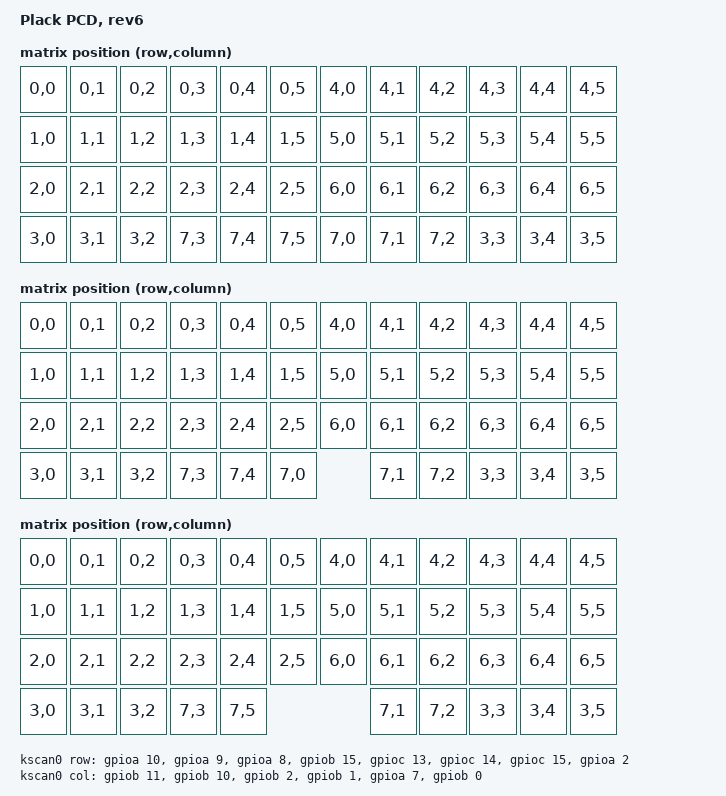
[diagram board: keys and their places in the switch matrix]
/*
 * Copyright (c) 2017 I-SENSE group of ICCS
 *
 * SPDX-License-Identifier: MIT
 */

/dts-v1/;
#include <st/f3/stm32f303Xc.dtsi>
#include <dt-bindings/zmk/matrix_transform.h>

/ {
	model = "Plack PCD, rev6";
	compatible = "planck,rev6", "st,stm32f303";

	chosen {
		zephyr,sram = &sram0;
		zephyr,flash = &flash0;
		zmk,kscan = &kscan0;
                zmk,matrix_transform = &layout_grid_transform;
	};

	kscan0: kscan {
		compatible = "zmk,kscan-gpio-matrix";
		label = "KSCAN";
                diode-direction = "col2row";
		row-gpios
			= <&gpioa 10 (GPIO_ACTIVE_HIGH | GPIO_PULL_DOWN)>
			, <&gpioa 9  (GPIO_ACTIVE_HIGH | GPIO_PULL_DOWN)>
			, <&gpioa 8  (GPIO_ACTIVE_HIGH | GPIO_PULL_DOWN)>
			, <&gpiob 15 (GPIO_ACTIVE_HIGH | GPIO_PULL_DOWN)>
			, <&gpioc 13 (GPIO_ACTIVE_HIGH | GPIO_PULL_DOWN)>
			, <&gpioc 14 (GPIO_ACTIVE_HIGH | GPIO_PULL_DOWN)>
			, <&gpioc 15 (GPIO_ACTIVE_HIGH | GPIO_PULL_DOWN)>
			, <&gpioa 2  (GPIO_ACTIVE_HIGH | GPIO_PULL_DOWN)>
			;
		col-gpios
			= <&gpiob 11 GPIO_ACTIVE_HIGH>
			, <&gpiob 10 GPIO_ACTIVE_HIGH>
			, <&gpiob 2  GPIO_ACTIVE_HIGH>
			, <&gpiob 1  GPIO_ACTIVE_HIGH>
			, <&gpioa 7  GPIO_ACTIVE_HIGH>
			, <&gpiob 0  GPIO_ACTIVE_HIGH>
			;
	};

layout_grid_transform:
	keymap_transform_0 {
	    compatible = "zmk,matrix-transform";
	    columns = <6>;
	    rows = <8>;
	    map = <
		RC(0,0) RC(0,1) RC(0,2) RC(0,3) RC(0,4) RC(0,5) RC(4,0) RC(4,1) RC(4,2) RC(4,3) RC(4,4) RC(4,5)
		RC(1,0) RC(1,1) RC(1,2) RC(1,3) RC(1,4) RC(1,5) RC(5,0) RC(5,1) RC(5,2) RC(5,3) RC(5,4) RC(5,5)
		RC(2,0) RC(2,1) RC(2,2) RC(2,3) RC(2,4) RC(2,5) RC(6,0) RC(6,1) RC(6,2) RC(6,3) RC(6,4) RC(6,5)
		RC(3,0) RC(3,1) RC(3,2) RC(7,3) RC(7,4) RC(7,5) RC(7,0) RC(7,1) RC(7,2) RC(3,3) RC(3,4) RC(3,5)
		>;
	};
layout_mit_transform:
	keymap_transform_1 {
	    compatible = "zmk,matrix-transform";
	    columns = <6>;
	    rows = <8>;
	    map = <
		RC(0,0) RC(0,1) RC(0,2) RC(0,3) RC(0,4) RC(0,5) RC(4,0) RC(4,1) RC(4,2) RC(4,3) RC(4,4) RC(4,5)
		RC(1,0) RC(1,1) RC(1,2) RC(1,3) RC(1,4) RC(1,5) RC(5,0) RC(5,1) RC(5,2) RC(5,3) RC(5,4) RC(5,5)
		RC(2,0) RC(2,1) RC(2,2) RC(2,3) RC(2,4) RC(2,5) RC(6,0) RC(6,1) RC(6,2) RC(6,3) RC(6,4) RC(6,5)
		RC(3,0) RC(3,1) RC(3,2) RC(7,3) RC(7,4)     RC(7,0)     RC(7,1) RC(7,2) RC(3,3) RC(3,4) RC(3,5)
		>;
	};
layout_2x2u_transform:
	keymap_transform_2 {
	    compatible = "zmk,matrix-transform";
	    columns = <6>;
	    rows = <8>;
	    map = <
		RC(0,0) RC(0,1) RC(0,2) RC(0,3) RC(0,4) RC(0,5) RC(4,0) RC(4,1) RC(4,2) RC(4,3) RC(4,4) RC(4,5)
		RC(1,0) RC(1,1) RC(1,2) RC(1,3) RC(1,4) RC(1,5) RC(5,0) RC(5,1) RC(5,2) RC(5,3) RC(5,4) RC(5,5)
		RC(2,0) RC(2,1) RC(2,2) RC(2,3) RC(2,4) RC(2,5) RC(6,0) RC(6,1) RC(6,2) RC(6,3) RC(6,4) RC(6,5)
		RC(3,0) RC(3,1) RC(3,2) RC(7,3)     RC(7,5)         RC(7,1)     RC(7,2) RC(3,3) RC(3,4) RC(3,5)
		>;
	};
};

&usb {
	status = "okay";
};

&flash0 {
	/*
	 * For more information, see:
	 * http://docs.zephyrproject.org/latest/guides/dts/index.html#flash-partitions
	 */
	partitions {
		compatible = "fixed-partitions";
		#address-cells = <1>;
		#size-cells = <1>;

		/* Set 6Kb of storage at the end of the 256Kb of flash */
		storage_partition: partition@3e800 {
			label = "storage";
			reg = <0x0003e800 0x00001800>;
		};
	};
};
